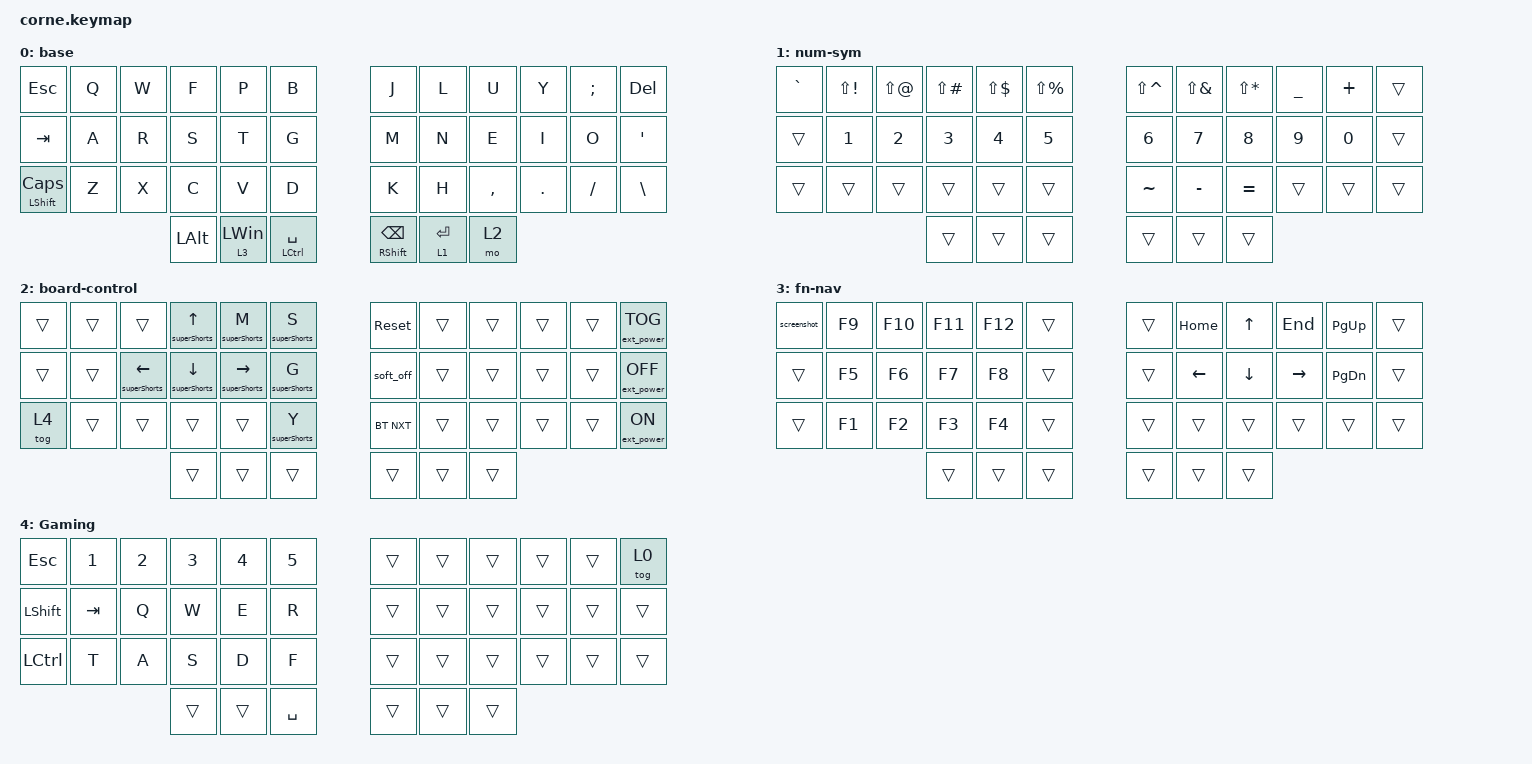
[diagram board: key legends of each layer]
#include <behaviors.dtsi>
#include <dt-bindings/zmk/bt.h>
#include <dt-bindings/zmk/ext_power.h>
#include <dt-bindings/zmk/keys.h>
#include <dt-bindings/zmk/rgb.h>

/ {
    kscan: kscan {
        compatible = "zmk,kscan-gpio-matrix";
        diode-direction = "col2row";
        wakeup-source;
    };

    combos {
        compatible = "zmk,combos";

        left_brace {
            bindings = <&kp LEFT_BRACE>;
            key-positions = <3 4>;
        };

        right_brace {
            bindings = <&kp RIGHT_BRACE>;
            key-positions = <7 8>;
        };

        left_paren {
            bindings = <&kp LEFT_PARENTHESIS>;
            key-positions = <15 16>;
        };

        right_paren {
            bindings = <&kp RIGHT_PARENTHESIS>;
            key-positions = <19 20>;
        };

        less_than {
            bindings = <&kp LESS_THAN>;
            key-positions = <27 28>;
        };

        greater_than {
            bindings = <&kp GREATER_THAN>;
            key-positions = <31 32>;
        };

        squareLeft {
            bindings = <&kp LEFT_BRACKET>;
            key-positions = <13 14>;
        };

        squareRight {
            bindings = <&kp RIGHT_BRACKET>;
            key-positions = <21 22>;
        };
    };

    macros {
        raise: raise {
            compatible = "zmk,behavior-macro";
            #binding-cells = <0>;
            bindings = <&mo 1 &rgb_ug RGB_COLOR_HSB(137,100,41)>;
            label = "RAISE";
        };

        lower: lower {
            compatible = "zmk,behavior-macro";
            #binding-cells = <0>;
            bindings = <&mo 2 &rgb_ug RGB_COLOR_HSB(230,100,43)>;
            label = "LOWER";
        };

        screenshot: screenshot {
            compatible = "zmk,behavior-macro";
            #binding-cells = <0>;
            bindings =
                <&macro_press>,
                <&kp LEFT_WIN &kp LEFT_SHIFT>,
                <&macro_tap>,
                <&kp S>,
                <&macro_release>,
                <&kp LEFT_SHIFT &kp LEFT_WIN>;

            label = "SCREENSHOT";
        };

        superShorts: tilingUp {
            compatible = "zmk,behavior-macro-one-param";
            #binding-cells = <1>;
            bindings =
                <&macro_press>,
                <&kp LEFT_WIN &macro_param_1to1 &kp MACRO_PLACEHOLDER>,
                <&macro_release>,
                <&kp LEFT_WIN>;

            label = "TILINGUP";
        };
    };

    keymap {
        compatible = "zmk,keymap";

        base {
            bindings = <
&kp ESC              &kp Q  &kp W  &kp F         &kp P           &kp B              &kp J                      &kp L        &kp U      &kp Y    &kp SEMI  &kp DEL
&kp TAB              &kp A  &kp R  &kp S         &kp T           &kp G              &kp M                      &kp N        &kp E      &kp I    &kp O     &kp APOS
&mt LEFT_SHIFT CAPS  &kp Z  &kp X  &kp C         &kp V           &kp D              &kp K                      &kp H        &kp COMMA  &kp DOT  &kp FSLH  &kp BSLH
                                   &kp LEFT_ALT  &lt 3 LEFT_WIN  &mt LCTRL SPACE    &mt RIGHT_SHIFT BACKSPACE  &lt 1 ENTER  &mo 2
            >;
        };

        num-sym {
            bindings = <
&kp GRAVE  &kp LS(EXCL)  &kp LS(AT)  &kp LS(POUND)  &kp LS(DLLR)  &kp LS(PRCNT)    &kp LS(CARET)  &kp LS(AMPS)  &kp LS(STAR)  &kp UNDER  &kp PLUS  &trans
&trans     &kp N1        &kp N2      &kp N3         &kp N4        &kp N5           &kp N6         &kp N7        &kp N8        &kp N9     &kp N0    &trans
&trans     &trans        &trans      &trans         &trans        &trans           &kp TILDE      &kp MINUS     &kp EQUAL     &trans     &trans    &trans
                                     &trans         &trans        &trans           &trans         &trans        &trans
            >;
        };

        board-control {
            bindings = <
&trans  &trans  &trans                   &superShorts UP_ARROW  &superShorts M            &superShorts S    &sys_reset  &trans  &trans  &trans  &trans  &ext_power EP_TOG
&trans  &trans  &superShorts LEFT_ARROW  &superShorts DOWN      &superShorts RIGHT_ARROW  &superShorts G    &soft_off   &trans  &trans  &trans  &trans  &ext_power EP_OFF
&tog 4  &trans  &trans                   &trans                 &trans                    &superShorts Y    &bt BT_NXT  &trans  &trans  &trans  &trans  &ext_power EP_ON
                                         &trans                 &trans                    &trans            &trans      &trans  &trans
            >;
        };

        fn-nav {
            bindings = <
&screenshot  &kp F9  &kp F10  &kp F11  &kp F12  &trans    &trans  &kp HOME        &kp UP_ARROW    &kp END          &kp PG_UP      &trans
&trans       &kp F5  &kp F6   &kp F7   &kp F8   &trans    &trans  &kp LEFT_ARROW  &kp DOWN_ARROW  &kp RIGHT_ARROW  &kp PAGE_DOWN  &trans
&trans       &kp F1  &kp F2   &kp F3   &kp F4   &trans    &trans  &trans          &trans          &trans           &trans         &trans
                              &trans   &trans   &trans    &trans  &trans          &trans
            >;
        };

        Gaming {
            bindings = <
&kp ESC    &kp N1   &kp N2  &kp N3  &kp N4  &kp N5       &trans  &trans  &trans  &trans  &trans  &tog 0
&kp LSHFT  &kp TAB  &kp Q   &kp W   &kp E   &kp R        &trans  &trans  &trans  &trans  &trans  &trans
&kp LCTRL  &kp T    &kp A   &kp S   &kp D   &kp F        &trans  &trans  &trans  &trans  &trans  &trans
                            &trans  &trans  &kp SPACE    &trans  &trans  &trans
            >;
        };
    };
};
